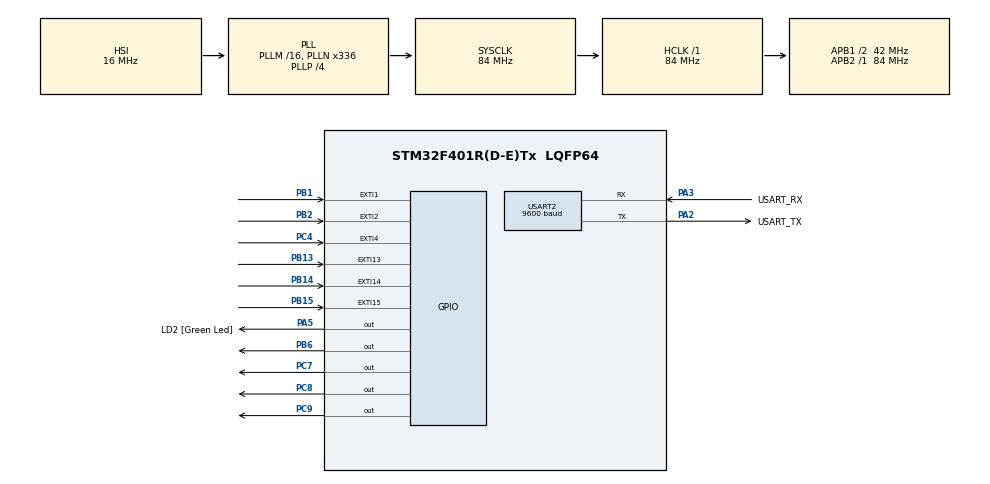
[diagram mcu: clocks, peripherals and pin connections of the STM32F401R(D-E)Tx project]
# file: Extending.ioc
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Mcu.Family=STM32F4
Mcu.Name=STM32F401R(D-E)Tx
Mcu.Package=LQFP64
NVIC.EXTI15_10_IRQn=true\:0\:0\:false\:false\:true\:true
NVIC.EXTI1_IRQn=true\:0\:0\:false\:false\:true\:true
NVIC.EXTI2_IRQn=true\:0\:0\:false\:false\:true\:true
NVIC.EXTI4_IRQn=true\:0\:0\:false\:false\:true\:true
NVIC.PriorityGroup=NVIC_PRIORITYGROUP_0
NVIC.USART2_IRQn=true\:0\:0\:false\:false\:true\:true
PA13.GPIO_Label=TMS
PA13.Signal=SYS_JTMS-SWDIO
PA14.GPIO_Label=TCK
PA14.Signal=SYS_JTCK-SWCLK
PA2.GPIO_Label=USART_TX
PA2.GPIO_Mode=GPIO_MODE_AF_PP
PA2.GPIO_PuPd=GPIO_NOPULL
PA2.GPIO_Speed=GPIO_SPEED_FREQ_LOW
PA2.Mode=Asynchronous
PA2.Signal=USART2_TX
PA3.GPIO_Label=USART_RX
PA3.GPIO_Mode=GPIO_MODE_AF_PP
PA3.GPIO_PuPd=GPIO_NOPULL
PA3.GPIO_Speed=GPIO_SPEED_FREQ_LOW
PA3.Mode=Asynchronous
PA3.Signal=USART2_RX
PA5.GPIO_Label=LD2 [Green Led]
PA5.GPIO_Mode=GPIO_MODE_OUTPUT_PP
PA5.GPIO_PuPd=GPIO_NOPULL
PA5.GPIO_Speed=GPIO_SPEED_FREQ_LOW
PA5.Signal=GPIO_Output
PB1.GPIO_ModeDefaultEXTI=GPIO_MODE_IT_RISING_FALLING
PB1.Signal=GPXTI1
PB13.GPIO_ModeDefaultEXTI=GPIO_MODE_IT_RISING_FALLING
PB13.Signal=GPXTI13
PB14.GPIO_ModeDefaultEXTI=GPIO_MODE_IT_RISING_FALLING
PB14.Signal=GPXTI14
PB15.GPIO_ModeDefaultEXTI=GPIO_MODE_IT_RISING_FALLING
PB15.Signal=GPXTI15
PB2.GPIO_ModeDefaultEXTI=GPIO_MODE_IT_RISING_FALLING
PB2.Signal=GPXTI2
PB3.GPIO_Label=SWO
PB3.Signal=SYS_JTDO-SWO
PB6.Signal=GPIO_Output
PC14-OSC32_IN.Signal=RCC_OSC32_IN
PC15-OSC32_OUT.Signal=RCC_OSC32_OUT
PC4.GPIO_ModeDefaultEXTI=GPIO_MODE_IT_RISING_FALLING
PC4.Signal=GPXTI4
PC7.Signal=GPIO_Output
PC8.Signal=GPIO_Output
PC9.Signal=GPIO_Output
PH0\ -\ OSC_IN.Signal=RCC_OSC_IN
PH1\ -\ OSC_OUT.Signal=RCC_OSC_OUT
ProjectManager.HeapSize=0x200
ProjectManager.StackSize=0x400
ProjectManager.TargetToolchain=MDK-ARM V5
RCC.AHBFreq_Value=84000000
RCC.APB1CLKDivider=RCC_HCLK_DIV2
RCC.APB1Freq_Value=42000000
RCC.APB1TimFreq_Value=84000000
RCC.APB2Freq_Value=84000000
RCC.APB2TimFreq_Value=84000000
RCC.CortexFreq_Value=84000000
RCC.HCLKFreq_Value=84000000
RCC.HSE_VALUE=8000000
RCC.HSI_VALUE=16000000
RCC.LSE_VALUE=32768
RCC.PLLN=336
RCC.PLLP=RCC_PLLP_DIV4
RCC.PLLQ=7
RCC.SYSCLKFreq_VALUE=84000000
RCC.SYSCLKSource=RCC_SYSCLKSOURCE_PLLCLK
RCC.VCOOutputFreq_Value=336000000
USART2.BaudRate=9600
USART2.VirtualMode=VM_ASYNC
board=NUCLEO-F401RE

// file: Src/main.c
/**
  ******************************************************************************
  * File Name          : main.c
  * Description        : Main program body
  ******************************************************************************
  ** This notice applies to any and all portions of this file
  * that are not between comment pairs USER CODE BEGIN and
  * USER CODE END. Other portions of this file, whether
  * inserted by the user or by software development tools
  * are owned by their respective copyright owners.
  *
  * COPYRIGHT(c) 2018 STMicroelectronics
  *
  * Redistribution and use in source and binary forms, with or without modification,
  * are permitted provided that the following conditions are met:
  *   1. Redistributions of source code must retain the above copyright notice,
  *      this list of conditions and the following disclaimer.
  *   2. Redistributions in binary form must reproduce the above copyright notice,
  *      this list of conditions and the following disclaimer in the documentation
  *      and/or other materials provided with the distribution.
  *   3. Neither the name of STMicroelectronics nor the names of its contributors
  *      may be used to endorse or promote products derived from this software
  *      without specific prior written permission.
  *
  * THIS SOFTWARE IS PROVIDED BY THE COPYRIGHT HOLDERS AND CONTRIBUTORS "AS IS"
  * AND ANY EXPRESS OR IMPLIED WARRANTIES, INCLUDING, BUT NOT LIMITED TO, THE
  * IMPLIED WARRANTIES OF MERCHANTABILITY AND FITNESS FOR A PARTICULAR PURPOSE ARE
  * DISCLAIMED. IN NO EVENT SHALL THE COPYRIGHT HOLDER OR CONTRIBUTORS BE LIABLE
  * FOR ANY DIRECT, INDIRECT, INCIDENTAL, SPECIAL, EXEMPLARY, OR CONSEQUENTIAL
  * DAMAGES (INCLUDING, BUT NOT LIMITED TO, PROCUREMENT OF SUBSTITUTE GOODS OR
  * SERVICES; LOSS OF USE, DATA, OR PROFITS; OR BUSINESS INTERRUPTION) HOWEVER
  * CAUSED AND ON ANY THEORY OF LIABILITY, WHETHER IN CONTRACT, STRICT LIABILITY,
  * OR TORT (INCLUDING NEGLIGENCE OR OTHERWISE) ARISING IN ANY WAY OUT OF THE USE
  * OF THIS SOFTWARE, EVEN IF ADVISED OF THE POSSIBILITY OF SUCH DAMAGE.
  *
  ******************************************************************************
  */
#include "main.h"
#include "stm32f4xx_hal.h"

UART_HandleTypeDef huart2;

/* USER CODE BEGIN PV */
/* Private variables ---------------------------------------------------------*/
int state = 1;
int stepDir = 0;
char rxBuf[1];
int limit1 = 1;
int limit2 = 1;
int limit4 = 1;
int limit13 = 1;
int limit14 = 1;
int limit15 = 1;
/* USER CODE END PV */

void SystemClock_Config(void);
static void MX_GPIO_Init(void);
static void MX_USART2_UART_Init(void);

/* USER CODE BEGIN PFP */
/* Private function prototypes -----------------------------------------------*/
/* USER CODE END PFP */

int main(void)
{

  /* MCU Configuration----------------------------------------------------------*/

  /* Reset of all peripherals, Initializes the Flash interface and the Systick. */
  HAL_Init();

  /* Configure the system clock */
  SystemClock_Config();

  /* Initialize all configured peripherals */
  MX_GPIO_Init();
  MX_USART2_UART_Init();

  /* USER CODE BEGIN 2 */
	HAL_UART_Receive_IT(&huart2, rxBuf, 1);
  /* USER CODE END 2 */

  /* Infinite loop */
  /* USER CODE BEGIN WHILE */
  while (1)
  {
		if ((!limit1 | !limit2 | !limit4) && (!stepDir))
		{;}
		else if ((!limit13 | !limit14 | !limit15) && (stepDir))
		{;}
		else
		{
		//State Machine for driving step magnets
		switch (state)
		{
			case 1:
			{

				HAL_GPIO_WritePin(GPIOB, GPIO_PIN_6, 1);
				HAL_GPIO_WritePin(GPIOC, GPIO_PIN_7, 0);
				HAL_GPIO_WritePin(GPIOC, GPIO_PIN_8, 1);
				HAL_GPIO_WritePin(GPIOC, GPIO_PIN_9, 0);

				break;
			}

			case 2:
			{
				HAL_GPIO_WritePin(GPIOB, GPIO_PIN_6, 0);
				HAL_GPIO_WritePin(GPIOC, GPIO_PIN_7, 1);
				HAL_GPIO_WritePin(GPIOC, GPIO_PIN_8, 1);
				HAL_GPIO_WritePin(GPIOC, GPIO_PIN_9, 0);

				break;
			}

			case 3:
			{
				HAL_GPIO_WritePin(GPIOB, GPIO_PIN_6, 0);
				HAL_GPIO_WritePin(GPIOC, GPIO_PIN_7, 1);
				HAL_GPIO_WritePin(GPIOC, GPIO_PIN_8, 0);
				HAL_GPIO_WritePin(GPIOC, GPIO_PIN_9, 1);

				break;
			}

			case 4:
			{
				HAL_GPIO_WritePin(GPIOB, GPIO_PIN_6, 1);
				HAL_GPIO_WritePin(GPIOC, GPIO_PIN_7, 0);
				HAL_GPIO_WritePin(GPIOC, GPIO_PIN_8, 0);
				HAL_GPIO_WritePin(GPIOC, GPIO_PIN_9, 1);

				break;
			}

			default:
				break;
		}

		//Increment or Decrement depending on stepdirection
		switch (stepDir)
		{
			case 0:
				state++;
				break;
			case 1:
				state--;
				break;
			default:
				break;
		}

		//Reset State if outside state bounds
		if (state > 4)
		{
			state = 1;
		}
		else if (state < 1)
		{
			state = 4;
		}
	}
		//Delay drive for 1ms
		HAL_Delay(1);

  /* USER CODE END WHILE */

  }

}

/** System Clock Configuration
*/
void SystemClock_Config(void)
{

  RCC_OscInitTypeDef RCC_OscInitStruct;
  RCC_ClkInitTypeDef RCC_ClkInitStruct;

    /**Configure the main internal regulator output voltage
    */
  __HAL_RCC_PWR_CLK_ENABLE();

  __HAL_PWR_VOLTAGESCALING_CONFIG(PWR_REGULATOR_VOLTAGE_SCALE2);

    /**Initializes the CPU, AHB and APB busses clocks
    */
  RCC_OscInitStruct.OscillatorType = RCC_OSCILLATORTYPE_HSI;
  RCC_OscInitStruct.HSIState = RCC_HSI_ON;
  RCC_OscInitStruct.HSICalibrationValue = 16;
  RCC_OscInitStruct.PLL.PLLState = RCC_PLL_ON;
  RCC_OscInitStruct.PLL.PLLSource = RCC_PLLSOURCE_HSI;
  RCC_OscInitStruct.PLL.PLLM = 16;
  RCC_OscInitStruct.PLL.PLLN = 336;
  RCC_OscInitStruct.PLL.PLLP = RCC_PLLP_DIV4;
  RCC_OscInitStruct.PLL.PLLQ = 7;
  if (HAL_RCC_OscConfig(&RCC_OscInitStruct) != HAL_OK)
  {
    _Error_Handler(__FILE__, __LINE__);
  }

    /**Initializes the CPU, AHB and APB busses clocks
    */
  RCC_ClkInitStruct.ClockType = RCC_CLOCKTYPE_HCLK|RCC_CLOCKTYPE_SYSCLK
                              |RCC_CLOCKTYPE_PCLK1|RCC_CLOCKTYPE_PCLK2;
  RCC_ClkInitStruct.SYSCLKSource = RCC_SYSCLKSOURCE_PLLCLK;
  RCC_ClkInitStruct.AHBCLKDivider = RCC_SYSCLK_DIV1;
  RCC_ClkInitStruct.APB1CLKDivider = RCC_HCLK_DIV2;
  RCC_ClkInitStruct.APB2CLKDivider = RCC_HCLK_DIV1;

  if (HAL_RCC_ClockConfig(&RCC_ClkInitStruct, FLASH_LATENCY_2) != HAL_OK)
  {
    _Error_Handler(__FILE__, __LINE__);
  }

    /**Configure the Systick interrupt time
    */
  HAL_SYSTICK_Config(HAL_RCC_GetHCLKFreq()/1000);

    /**Configure the Systick
    */
  HAL_SYSTICK_CLKSourceConfig(SYSTICK_CLKSOURCE_HCLK);

  /* SysTick_IRQn interrupt configuration */
  HAL_NVIC_SetPriority(SysTick_IRQn, 0, 0);
}

/* USART2 init function */
static void MX_USART2_UART_Init(void)
{

  huart2.Instance = USART2;
  huart2.Init.BaudRate = 9600;
  huart2.Init.WordLength = UART_WORDLENGTH_8B;
  huart2.Init.StopBits = UART_STOPBITS_1;
  huart2.Init.Parity = UART_PARITY_NONE;
  huart2.Init.Mode = UART_MODE_TX_RX;
  huart2.Init.HwFlowCtl = UART_HWCONTROL_NONE;
  huart2.Init.OverSampling = UART_OVERSAMPLING_16;
  if (HAL_UART_Init(&huart2) != HAL_OK)
  {
    _Error_Handler(__FILE__, __LINE__);
  }

}

/** Configure pins as
        * Analog
        * Input
        * Output
        * EVENT_OUT
        * EXTI
*/
static void MX_GPIO_Init(void)
{

  GPIO_InitTypeDef GPIO_InitStruct;

  /* GPIO Ports Clock Enable */
  __HAL_RCC_GPIOC_CLK_ENABLE();
  __HAL_RCC_GPIOH_CLK_ENABLE();
  __HAL_RCC_GPIOA_CLK_ENABLE();
  __HAL_RCC_GPIOB_CLK_ENABLE();

  /*Configure GPIO pin Output Level */
  HAL_GPIO_WritePin(LD2_GPIO_Port, LD2_Pin, GPIO_PIN_RESET);

  /*Configure GPIO pin Output Level */
  HAL_GPIO_WritePin(GPIOC, GPIO_PIN_7|GPIO_PIN_8|GPIO_PIN_9, GPIO_PIN_RESET);

  /*Configure GPIO pin Output Level */
  HAL_GPIO_WritePin(GPIOB, GPIO_PIN_6, GPIO_PIN_RESET);

  /*Configure GPIO pin : LD2_Pin */
  GPIO_InitStruct.Pin = LD2_Pin;
  GPIO_InitStruct.Mode = GPIO_MODE_OUTPUT_PP;
  GPIO_InitStruct.Pull = GPIO_NOPULL;
  GPIO_InitStruct.Speed = GPIO_SPEED_FREQ_LOW;
  HAL_GPIO_Init(LD2_GPIO_Port, &GPIO_InitStruct);

  /*Configure GPIO pin : PC4 */
  GPIO_InitStruct.Pin = GPIO_PIN_4;
  GPIO_InitStruct.Mode = GPIO_MODE_IT_RISING_FALLING;
  GPIO_InitStruct.Pull = GPIO_NOPULL;
  HAL_GPIO_Init(GPIOC, &GPIO_InitStruct);

  /*Configure GPIO pins : PB1 PB2 PB13 PB14
                           PB15 */
  GPIO_InitStruct.Pin = GPIO_PIN_1|GPIO_PIN_2|GPIO_PIN_13|GPIO_PIN_14
                          |GPIO_PIN_15;
  GPIO_InitStruct.Mode = GPIO_MODE_IT_RISING_FALLING;
  GPIO_InitStruct.Pull = GPIO_NOPULL;
  HAL_GPIO_Init(GPIOB, &GPIO_InitStruct);

  /*Configure GPIO pins : PC7 PC8 PC9 */
  GPIO_InitStruct.Pin = GPIO_PIN_7|GPIO_PIN_8|GPIO_PIN_9;
  GPIO_InitStruct.Mode = GPIO_MODE_OUTPUT_PP;
  GPIO_InitStruct.Pull = GPIO_NOPULL;
  GPIO_InitStruct.Speed = GPIO_SPEED_FREQ_LOW;
  HAL_GPIO_Init(GPIOC, &GPIO_InitStruct);

  /*Configure GPIO pin : PB6 */
  GPIO_InitStruct.Pin = GPIO_PIN_6;
  GPIO_InitStruct.Mode = GPIO_MODE_OUTPUT_PP;
  GPIO_InitStruct.Pull = GPIO_NOPULL;
  GPIO_InitStruct.Speed = GPIO_SPEED_FREQ_LOW;
  HAL_GPIO_Init(GPIOB, &GPIO_InitStruct);

  /* EXTI interrupt init*/
  HAL_NVIC_SetPriority(EXTI1_IRQn, 0, 0);
  HAL_NVIC_EnableIRQ(EXTI1_IRQn);

  HAL_NVIC_SetPriority(EXTI2_IRQn, 0, 0);
  HAL_NVIC_EnableIRQ(EXTI2_IRQn);

  HAL_NVIC_SetPriority(EXTI4_IRQn, 0, 0);
  HAL_NVIC_EnableIRQ(EXTI4_IRQn);

  HAL_NVIC_SetPriority(EXTI15_10_IRQn, 0, 0);
  HAL_NVIC_EnableIRQ(EXTI15_10_IRQn);

}

void _Error_Handler(char * file, int line)
{
  while(1)
  {
  }
}

/************************ (C) COPYRIGHT STMicroelectronics *****END OF FILE****/
